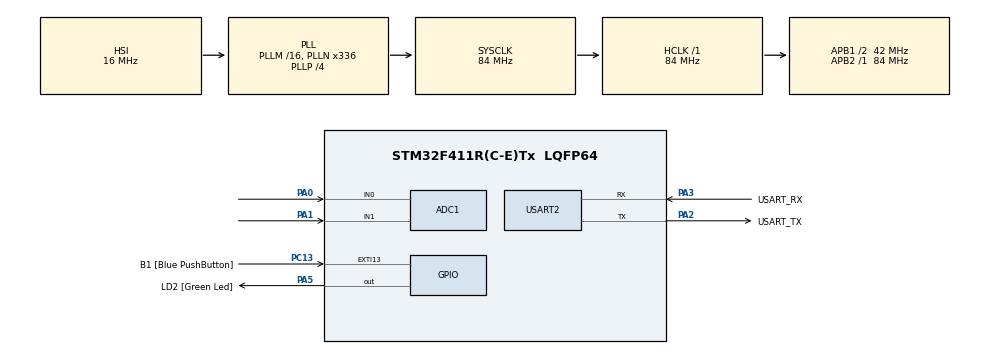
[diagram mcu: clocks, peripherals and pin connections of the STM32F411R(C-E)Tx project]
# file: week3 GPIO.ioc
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ADC1.Channel-0\#ChannelRegularConversion=ADC_CHANNEL_0
ADC1.NbrOfConversionFlag=1
ADC1.Rank-0\#ChannelRegularConversion=1
ADC1.SamplingTime-0\#ChannelRegularConversion=ADC_SAMPLETIME_3CYCLES
ADC1.master=1
Mcu.Family=STM32F4
Mcu.Name=STM32F411R(C-E)Tx
Mcu.Package=LQFP64
NVIC.PriorityGroup=NVIC_PRIORITYGROUP_0
PA0-WKUP.Signal=ADCx_IN0
PA1.Signal=ADCx_IN1
PA13.GPIO_Label=TMS
PA13.Mode=Serial_Wire
PA13.Signal=SYS_JTMS-SWDIO
PA14.GPIO_Label=TCK
PA14.Mode=Serial_Wire
PA14.Signal=SYS_JTCK-SWCLK
PA2.GPIO_Label=USART_TX
PA2.Mode=Asynchronous
PA2.Signal=USART2_TX
PA3.GPIO_Label=USART_RX
PA3.Mode=Asynchronous
PA3.Signal=USART2_RX
PA5.GPIO_Label=LD2 [Green Led]
PA5.Signal=GPIO_Output
PB3.GPIO_Label=SWO
PB3.Signal=SYS_JTDO-SWO
PC13-ANTI_TAMP.GPIO_Label=B1 [Blue PushButton]
PC13-ANTI_TAMP.GPIO_ModeDefaultEXTI=GPIO_MODE_IT_FALLING
PC13-ANTI_TAMP.Signal=GPXTI13
PC14-OSC32_IN.Mode=LSE-External-Oscillator
PC14-OSC32_IN.Signal=RCC_OSC32_IN
PC15-OSC32_OUT.Mode=LSE-External-Oscillator
PC15-OSC32_OUT.Signal=RCC_OSC32_OUT
PH0\ -\ OSC_IN.Mode=HSE-External-Clock-Source
PH0\ -\ OSC_IN.Signal=RCC_OSC_IN
PH1\ -\ OSC_OUT.Mode=HSE-External-Clock-Source
PH1\ -\ OSC_OUT.Signal=RCC_OSC_OUT
ProjectManager.HeapSize=0x200
ProjectManager.StackSize=0x400
ProjectManager.TargetToolchain=STM32CubeIDE
RCC.48MHZClocksFreq_Value=84000000
RCC.AHBFreq_Value=84000000
RCC.APB1CLKDivider=RCC_HCLK_DIV2
RCC.APB1Freq_Value=42000000
RCC.APB1TimFreq_Value=84000000
RCC.APB2Freq_Value=84000000
RCC.APB2TimFreq_Value=84000000
RCC.CortexFreq_Value=84000000
RCC.FLatency-AdvancedSettings=FLASH_LATENCY_2
RCC.HCLKFreq_Value=84000000
RCC.HSE_VALUE=8000000
RCC.HSI_VALUE=16000000
RCC.PLLN=336
RCC.PLLP=RCC_PLLP_DIV4
RCC.SYSCLKFreq_VALUE=84000000
RCC.SYSCLKSource=RCC_SYSCLKSOURCE_PLLCLK
RCC.VCOOutputFreq_Value=336000000
SH.ADCx_IN0.0=ADC1_IN0,IN0
SH.ADCx_IN1.0=ADC1_IN1,IN1
USART2.VirtualMode=VM_ASYNC
VP_ADC1_TempSens_Input.Mode=IN-TempSens
board=NUCLEO-F411RE

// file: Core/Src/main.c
/* USER CODE BEGIN Header */
/**
 ******************************************************************************
 * @file           : main.c
 * @brief          : Main program body
 ******************************************************************************
 * @attention
 *
 * <h2><center>&copy; Copyright (c) 2021 STMicroelectronics.
 * All rights reserved.</center></h2>
 *
 * This software component is licensed by ST under BSD 3-Clause license,
 * the "License"; You may not use this file except in compliance with the
 * License. You may obtain a copy of the License at:
 *                        opensource.org/licenses/BSD-3-Clause
 *
 ******************************************************************************
 */
/* USER CODE END Header */
#include "main.h"

ADC_HandleTypeDef hadc1;

UART_HandleTypeDef huart2;

/* USER CODE BEGIN PV */
_Bool ADCMode=0;
uint16_t adcdata[2] = { 0 };
float ADCOutputConverted;
float resolution = 0.80566406;//3300/4096   ,2^12 =4096

typedef struct {
	ADC_ChannelConfTypeDef Config;
	uint16_t data;
} ADCStructure;

ADCStructure ADCChannel[3] = { 0 };

/* USER CODE END PV */

void SystemClock_Config(void);
static void MX_GPIO_Init(void);
static void MX_USART2_UART_Init(void);
static void MX_ADC1_Init(void);
/* USER CODE BEGIN PFP */
void ADCPollingMethodInit();
void ADCPollingMethodUpdate();
/* USER CODE END PFP */

int main(void) {

	/* MCU Configuration--------------------------------------------------------*/

	/* Reset of all peripherals, Initializes the Flash interface and the Systick. */
	HAL_Init();

	/* Configure the system clock */
	SystemClock_Config();

	/* Initialize all configured peripherals */
	MX_GPIO_Init();
	MX_USART2_UART_Init();
	MX_ADC1_Init();
	/* USER CODE BEGIN 2 */
	ADCPollingMethodInit();
	GPIO_PinState SwitchState[2];
	uint32_t ButtonTimeStamp = 0;

	/* USER CODE END 2 */

	/* Infinite loop */
	while (1) {

		/* USER CODE BEGIN 3 */

		ADCPollingMethodUpdate();
		if(HAL_GetTick() - ButtonTimeStamp >= 100)
		   {
		    ButtonTimeStamp = HAL_GetTick();

		    SwitchState[0] = HAL_GPIO_ReadPin(GPIOC, GPIO_PIN_13);
		       //Press = Low , No = High
		       if(SwitchState[0] == GPIO_PIN_RESET && SwitchState[1] == GPIO_PIN_SET)
		       // set = high , reset = low
		       {
		    	   if(ADCMode == 1)
		    	   {
		    		   ADCMode =0;
		    	   }
		    	   else if(ADCMode == 0)
		    	   {
		    		   ADCMode =1;
		    	   }
		       }
		       SwitchState[1] = SwitchState[0];

		  }

		if (ADCMode ==0)
		{
			ADCOutputConverted = (ADCChannel[0].data) * resolution; //millivolt
		}
		else if (ADCMode ==1)
		{
			ADCOutputConverted = ((((ADCChannel[2].data)*resolution)-760)/2.5)+25;// temperature(celcius)= ((Vsense-V25(vat25celcius))/avg_slope)+25
		}

	}
	/* USER CODE END 3 */
}

void SystemClock_Config(void) {
	RCC_OscInitTypeDef RCC_OscInitStruct = { 0 };
	RCC_ClkInitTypeDef RCC_ClkInitStruct = { 0 };

	/** Configure the main internal regulator output voltage
	 */
	__HAL_RCC_PWR_CLK_ENABLE();
	__HAL_PWR_VOLTAGESCALING_CONFIG(PWR_REGULATOR_VOLTAGE_SCALE1);
	/** Initializes the RCC Oscillators according to the specified parameters
	 * in the RCC_OscInitTypeDef structure.
	 */
	RCC_OscInitStruct.OscillatorType = RCC_OSCILLATORTYPE_HSI;
	RCC_OscInitStruct.HSIState = RCC_HSI_ON;
	RCC_OscInitStruct.HSICalibrationValue = RCC_HSICALIBRATION_DEFAULT;
	RCC_OscInitStruct.PLL.PLLState = RCC_PLL_ON;
	RCC_OscInitStruct.PLL.PLLSource = RCC_PLLSOURCE_HSI;
	RCC_OscInitStruct.PLL.PLLM = 16;
	RCC_OscInitStruct.PLL.PLLN = 336;
	RCC_OscInitStruct.PLL.PLLP = RCC_PLLP_DIV4;
	RCC_OscInitStruct.PLL.PLLQ = 4;
	if (HAL_RCC_OscConfig(&RCC_OscInitStruct) != HAL_OK) {
		Error_Handler();
	}
	/** Initializes the CPU, AHB and APB buses clocks
	 */
	RCC_ClkInitStruct.ClockType = RCC_CLOCKTYPE_HCLK | RCC_CLOCKTYPE_SYSCLK
			| RCC_CLOCKTYPE_PCLK1 | RCC_CLOCKTYPE_PCLK2;
	RCC_ClkInitStruct.SYSCLKSource = RCC_SYSCLKSOURCE_PLLCLK;
	RCC_ClkInitStruct.AHBCLKDivider = RCC_SYSCLK_DIV1;
	RCC_ClkInitStruct.APB1CLKDivider = RCC_HCLK_DIV2;
	RCC_ClkInitStruct.APB2CLKDivider = RCC_HCLK_DIV1;

	if (HAL_RCC_ClockConfig(&RCC_ClkInitStruct, FLASH_LATENCY_2) != HAL_OK) {
		Error_Handler();
	}
}

static void MX_ADC1_Init(void) {

	ADC_ChannelConfTypeDef sConfig = { 0 };

	/** Configure the global features of the ADC (Clock, Resolution, Data Alignment and number of conversion)
	 */
	hadc1.Instance = ADC1;
	hadc1.Init.ClockPrescaler = ADC_CLOCK_SYNC_PCLK_DIV4;
	hadc1.Init.Resolution = ADC_RESOLUTION_12B;
	hadc1.Init.ScanConvMode = DISABLE;
	hadc1.Init.ContinuousConvMode = DISABLE;
	hadc1.Init.DiscontinuousConvMode = DISABLE;
	hadc1.Init.ExternalTrigConvEdge = ADC_EXTERNALTRIGCONVEDGE_NONE;
	hadc1.Init.ExternalTrigConv = ADC_SOFTWARE_START;
	hadc1.Init.DataAlign = ADC_DATAALIGN_RIGHT;
	hadc1.Init.NbrOfConversion = 1;
	hadc1.Init.DMAContinuousRequests = DISABLE;
	hadc1.Init.EOCSelection = ADC_EOC_SINGLE_CONV;
	if (HAL_ADC_Init(&hadc1) != HAL_OK) {
		Error_Handler();
	}
	/** Configure for the selected ADC regular channel its corresponding rank in the sequencer and its sample time.
	 */
	sConfig.Channel = ADC_CHANNEL_0;
	sConfig.Rank = 1;
	sConfig.SamplingTime = ADC_SAMPLETIME_3CYCLES;
	if (HAL_ADC_ConfigChannel(&hadc1, &sConfig) != HAL_OK) {
		Error_Handler();
	}

}

static void MX_USART2_UART_Init(void) {

	huart2.Instance = USART2;
	huart2.Init.BaudRate = 115200;
	huart2.Init.WordLength = UART_WORDLENGTH_8B;
	huart2.Init.StopBits = UART_STOPBITS_1;
	huart2.Init.Parity = UART_PARITY_NONE;
	huart2.Init.Mode = UART_MODE_TX_RX;
	huart2.Init.HwFlowCtl = UART_HWCONTROL_NONE;
	huart2.Init.OverSampling = UART_OVERSAMPLING_16;
	if (HAL_UART_Init(&huart2) != HAL_OK) {
		Error_Handler();
	}

}

static void MX_GPIO_Init(void) {
	GPIO_InitTypeDef GPIO_InitStruct = { 0 };

	/* GPIO Ports Clock Enable */
	__HAL_RCC_GPIOC_CLK_ENABLE();
	__HAL_RCC_GPIOH_CLK_ENABLE();
	__HAL_RCC_GPIOA_CLK_ENABLE();
	__HAL_RCC_GPIOB_CLK_ENABLE();

	/*Configure GPIO pin Output Level */
	HAL_GPIO_WritePin(LD2_GPIO_Port, LD2_Pin, GPIO_PIN_RESET);

	/*Configure GPIO pin : B1_Pin */
	GPIO_InitStruct.Pin = B1_Pin;
	GPIO_InitStruct.Mode = GPIO_MODE_IT_FALLING;
	GPIO_InitStruct.Pull = GPIO_NOPULL;
	HAL_GPIO_Init(B1_GPIO_Port, &GPIO_InitStruct);

	/*Configure GPIO pin : LD2_Pin */
	GPIO_InitStruct.Pin = LD2_Pin;
	GPIO_InitStruct.Mode = GPIO_MODE_OUTPUT_PP;
	GPIO_InitStruct.Pull = GPIO_NOPULL;
	GPIO_InitStruct.Speed = GPIO_SPEED_FREQ_LOW;
	HAL_GPIO_Init(LD2_GPIO_Port, &GPIO_InitStruct);

}

/* USER CODE BEGIN 4 */
void ADCPollingMethodInit() {
	//config all ADC Channel
	ADCChannel[0].Config.Channel = ADC_CHANNEL_0; // PA0
	ADCChannel[0].Config.Rank = 1;
	ADCChannel[0].Config.SamplingTime = ADC_SAMPLETIME_3CYCLES;

	ADCChannel[1].Config.Channel = ADC_CHANNEL_1;//PA1
	ADCChannel[1].Config.Rank = 1;
	ADCChannel[1].Config.SamplingTime = ADC_SAMPLETIME_3CYCLES;

	ADCChannel[2].Config.Channel = ADC_CHANNEL_TEMPSENSOR;
	ADCChannel[2].Config.Rank = 1;
	ADCChannel[2].Config.SamplingTime = ADC_SAMPLETIME_3CYCLES;
}
//Polling Method
void ADCPollingMethodUpdate() {
	//Read all 3 Channel
	for (int i = 0; i < 3; i++) {
		HAL_ADC_ConfigChannel(&hadc1, &ADCChannel[i].Config);
		HAL_ADC_Start(&hadc1);
		HAL_ADC_PollForConversion(&hadc1, 10);
		ADCChannel[i].data = HAL_ADC_GetValue(&hadc1);
		HAL_ADC_Stop(&hadc1);
	}
}
/* USER CODE END 4 */

void Error_Handler(void) {
	__disable_irq();
	while (1) {
	}
}

/************************ (C) COPYRIGHT STMicroelectronics *****END OF FILE****/
